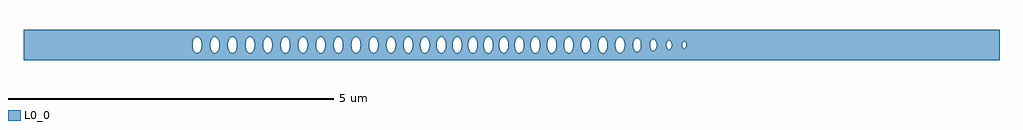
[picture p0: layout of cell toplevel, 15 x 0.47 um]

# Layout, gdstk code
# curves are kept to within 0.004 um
import gdstk
lib = gdstk.Library(unit=1e-6, precision=1e-09)
def P(c, l, *ps):  # polygons
    for p in ps: c.add(gdstk.Polygon(p, *l))
L0_0 = (0, 0)

toplevel = lib.new_cell('toplevel')
P(toplevel, L0_0, [(-4.359,0.016),(-4.355,0.046),(-4.34,0.085),(-4.34,0.235),(-7.5,0.235),(-7.5,-0.016),(-4.902,-0.016),(-4.899,0.038),(-4.889,0.073),(-4.866,0.109),(-4.836,0.124),(-4.81,0.118),(-4.78,0.085),(-4.766,0.046),(-4.761,-0.008),(-4.631,-0.008),(-4.629,0.031),(-4.615,0.079),(-4.594,0.109),(-4.565,0.124),(-4.534,0.115),(-4.512,0.09),(-4.495,0.046),(-4.49,0.008),(-4.493,-0.038),(-4.503,-0.073),(-4.526,-0.109),(-4.556,-0.124),(-4.582,-0.118),(-4.609,-0.09),(-4.626,-0.046),(-4.631,-0.008),(-4.761,-0.008),(-4.766,-0.046),(-4.78,-0.085),(-4.798,-0.109),(-4.827,-0.124),(-4.854,-0.118),(-4.877,-0.096),(-4.889,-0.073),(-4.902,-0.016),(-7.5,-0.016),(-7.5,-0.235),(-4.34,-0.235),(-4.34,-0.085),(-4.355,-0.046)],
  [(-3.816,0.016),(-3.808,0.06),(-3.791,0.096),(-3.768,0.118),(-3.738,0.123),(-3.738,0.235),(-4.34,0.235),(-4.34,0.085),(-4.323,0.109),(-4.302,0.122),(-4.276,0.122),(-4.255,0.109),(-4.227,0.06),(-4.219,-0.016),(-4.088,-0.016),(-4.085,0.038),(-4.075,0.073),(-4.052,0.109),(-4.022,0.124),(-3.996,0.118),(-3.973,0.096),(-3.956,0.06),(-3.947,0.008),(-3.952,-0.046),(-3.966,-0.085),(-3.984,-0.109),(-4.013,-0.124),(-4.04,-0.118),(-4.063,-0.096),(-4.08,-0.06),(-4.088,-0.016),(-4.219,-0.016),(-4.225,-0.053),(-4.238,-0.085),(-4.255,-0.109),(-4.276,-0.122),(-4.294,-0.124),(-4.311,-0.118),(-4.34,-0.085),(-4.34,-0.235),(-3.738,-0.235),(-3.738,-0.123),(-3.768,-0.118),(-3.798,-0.085),(-3.814,-0.038)],
  [(-3.677,-0.023),(-3.698,-0.09),(-3.716,-0.112),(-3.738,-0.123),(-3.738,-0.235),(-3.142,-0.235),(-3.142,-0.061),(-3.17,-0.109),(-3.191,-0.122),(-3.217,-0.122),(-3.238,-0.109),(-3.255,-0.085),(-3.268,-0.053),(-3.274,-0.016),(-3.266,0.06),(-3.249,0.096),(-3.226,0.118),(-3.208,0.124),(-3.182,0.118),(-3.159,0.096),(-3.142,0.06),(-3.142,0.235),(-3.738,0.235),(-3.738,0.123),(-3.709,0.105),(-3.689,0.073),(-3.679,0.038),(-3.676,-0.008),(-3.546,-0.008),(-3.541,0.046),(-3.527,0.085),(-3.509,0.109),(-3.48,0.124),(-3.462,0.122),(-3.437,0.105),(-3.411,0.053),(-3.405,-0.016),(-3.413,-0.06),(-3.437,-0.105),(-3.462,-0.122),(-3.493,-0.12),(-3.52,-0.096),(-3.537,-0.06),(-3.546,-0.008),(-3.676,-0.008)],
  [(-3.135,-0.023),(-3.142,-0.06),(-3.142,-0.235),(-2.457,-0.235),(-2.457,0.235),(-3.142,0.235),(-3.142,0.06),(-3.134,-0.008),(-3.003,-0.008),(-3,0.038),(-2.99,0.073),(-2.967,0.109),(-2.937,0.124),(-2.911,0.118),(-2.881,0.085),(-2.867,0.046),(-2.862,-0.008),(-2.732,-0.008),(-2.727,0.046),(-2.706,0.096),(-2.674,0.122),(-2.639,0.118),(-2.616,0.096),(-2.604,0.073),(-2.594,0.038),(-2.591,-0.016),(-2.61,-0.085),(-2.627,-0.109),(-2.648,-0.122),(-2.679,-0.12),(-2.706,-0.096),(-2.723,-0.06),(-2.732,-0.008),(-2.862,-0.008),(-2.867,-0.046),(-2.881,-0.085),(-2.899,-0.109),(-2.928,-0.124),(-2.959,-0.115),(-2.981,-0.09),(-2.998,-0.046),(-3.003,-0.008),(-3.134,-0.008)],
  [(-1.921,0.016),(-1.906,0.079),(-1.885,0.109),(-1.885,0.235),(-2.457,0.235),(-2.457,0.038),(-2.447,0.073),(-2.428,0.105),(-2.412,0.118),(-2.386,0.124),(-2.356,0.109),(-2.339,0.085),(-2.324,0.046),(-2.32,-0.008),(-2.19,-0.008),(-2.185,0.046),(-2.171,0.085),(-2.141,0.118),(-2.115,0.124),(-2.093,0.115),(-2.074,0.096),(-2.062,0.073),(-2.049,0.016),(-2.052,-0.038),(-2.062,-0.073),(-2.085,-0.109),(-2.115,-0.124),(-2.141,-0.118),(-2.168,-0.09),(-2.185,-0.046),(-2.19,-0.008),(-2.32,-0.008),(-2.324,-0.046),(-2.345,-0.096),(-2.368,-0.118),(-2.386,-0.124),(-2.412,-0.118),(-2.428,-0.105),(-2.447,-0.073),(-2.457,-0.039),(-2.457,-0.235),(-1.885,-0.235),(-1.885,-0.109),(-1.913,-0.06),(-1.921,-0.023)],
  [(-1.865,0.122),(-1.847,0.124),(-1.83,0.118),(-1.803,0.09),(-1.784,0.038),(-1.781,-0.008),(-1.659,-0.008),(-1.654,0.046),(-1.633,0.096),(-1.606,0.12),(-1.575,0.122),(-1.55,0.105),(-1.531,0.073),(-1.521,0.038),(-1.518,-0.016),(-1.526,-0.06),(-1.543,-0.096),(-1.566,-0.118),(-1.593,-0.124),(-1.622,-0.109),(-1.64,-0.085),(-1.654,-0.046),(-1.659,-0.008),(-1.781,-0.008),(-1.794,-0.073),(-1.821,-0.112),(-1.856,-0.124),(-1.885,-0.109),(-1.885,-0.235),(-1.289,-0.235),(-1.289,-0.1),(-1.318,-0.122),(-1.353,-0.118),(-1.369,-0.105),(-1.388,-0.073),(-1.401,-0.016),(-1.395,0.053),(-1.369,0.105),(-1.344,0.122),(-1.326,0.124),(-1.309,0.118),(-1.289,0.1),(-1.289,0.235),(-1.885,0.235),(-1.885,0.109)],
  [(-0.904,0.016),(-0.9,0.046),(-0.883,0.09),(-0.868,0.109),(-0.839,0.124),(-0.813,0.118),(-0.789,0.096),(-0.777,0.073),(-0.764,0.016),(-0.764,0.235),(-1.289,0.235),(-1.289,0.1),(-1.265,0.046),(-1.261,-0.016),(-1.15,-0.016),(-1.147,0.038),(-1.137,0.073),(-1.114,0.109),(-1.084,0.124),(-1.058,0.118),(-1.031,0.09),(-1.014,0.046),(-1.009,0.008),(-1.011,-0.031),(-1.025,-0.079),(-1.046,-0.109),(-1.075,-0.124),(-1.101,-0.118),(-1.125,-0.096),(-1.137,-0.073),(-1.15,-0.016),(-1.261,-0.016),(-1.269,-0.06),(-1.289,-0.1),(-1.289,-0.235),(-0.764,-0.235),(-0.764,-0.016),(-0.777,-0.073),(-0.789,-0.096),(-0.821,-0.122),(-0.848,-0.122),(-0.872,-0.105),(-0.889,-0.079),(-0.903,-0.031)],
  [(-0.187,0.031),(-0.17,0.085),(-0.17,0.235),(-0.764,0.235),(-0.764,-0.016),(-0.664,-0.016),(-0.661,0.038),(-0.651,0.073),(-0.628,0.109),(-0.598,0.124),(-0.572,0.118),(-0.542,0.085),(-0.528,0.046),(-0.524,-0.016),(-0.426,-0.016),(-0.423,0.038),(-0.413,0.073),(-0.39,0.109),(-0.36,0.124),(-0.334,0.118),(-0.304,0.085),(-0.29,0.046),(-0.285,0),(-0.29,-0.046),(-0.304,-0.085),(-0.322,-0.109),(-0.351,-0.124),(-0.378,-0.118),(-0.401,-0.096),(-0.418,-0.06),(-0.426,-0.016),(-0.524,-0.016),(-0.542,-0.085),(-0.56,-0.109),(-0.589,-0.124),(-0.616,-0.118),(-0.639,-0.096),(-0.656,-0.06),(-0.664,-0.016),(-0.764,-0.016),(-0.764,-0.235),(-0.17,-0.235),(-0.17,-0.085),(-0.186,-0.038)],
  [(0.296,0.016),(0.314,0.085),(0.332,0.109),(0.361,0.124),(0.361,0.235),(-0.17,0.235),(-0.17,0.085),(-0.153,0.109),(-0.132,0.122),(-0.105,0.122),(-0.085,0.109),(-0.057,0.06),(-0.048,-0.008),(0.05,-0.008),(0.052,0.031),(0.066,0.079),(0.087,0.109),(0.116,0.124),(0.142,0.118),(0.169,0.09),(0.186,0.046),(0.191,0.008),(0.188,-0.038),(0.178,-0.073),(0.158,-0.105),(0.134,-0.122),(0.107,-0.122),(0.076,-0.096),(0.059,-0.06),(0.05,-0.008),(-0.048,-0.008),(-0.064,-0.079),(-0.081,-0.105),(-0.105,-0.122),(-0.123,-0.124),(-0.14,-0.118),(-0.17,-0.085),(-0.17,-0.235),(0.361,-0.235),(0.361,-0.124),(0.332,-0.109),(0.314,-0.085),(0.3,-0.046)],
  [(0.81,0.016),(0.822,0.073),(0.838,0.1),(0.858,0.118),(0.875,0.124),(0.901,0.118),(0.934,0.079),(0.934,0.235),(0.361,0.235),(0.361,0.124),(0.388,0.118),(0.411,0.096),(0.43,0.053),(0.436,-0.008),(0.549,-0.008),(0.551,0.031),(0.565,0.079),(0.586,0.109),(0.615,0.124),(0.646,0.115),(0.668,0.09),(0.685,0.046),(0.69,0.008),(0.687,-0.038),(0.677,-0.073),(0.654,-0.109),(0.624,-0.124),(0.598,-0.118),(0.571,-0.09),(0.554,-0.046),(0.549,-0.008),(0.436,-0.008),(0.43,-0.053),(0.411,-0.096),(0.388,-0.118),(0.361,-0.124),(0.361,-0.235),(0.934,-0.235),(0.934,-0.079),(0.917,-0.105),(0.893,-0.122),(0.866,-0.122),(0.849,-0.112),(0.828,-0.085),(0.818,-0.06),(0.81,-0.023)],
  [(1.597,-0.008),(1.598,0.235),(0.934,0.235),(0.934,0.078),(0.948,0.031),(0.949,-0.016),(1.071,-0.016),(1.074,0.038),(1.084,0.073),(1.107,0.109),(1.137,0.124),(1.163,0.118),(1.193,0.085),(1.21,0.031),(1.211,-0.016),(1.333,-0.016),(1.336,0.038),(1.346,0.073),(1.369,0.109),(1.399,0.124),(1.425,0.118),(1.448,0.096),(1.469,0.046),(1.474,0),(1.469,-0.046),(1.454,-0.085),(1.437,-0.109),(1.408,-0.124),(1.381,-0.118),(1.358,-0.096),(1.341,-0.06),(1.333,-0.016),(1.211,-0.016),(1.207,-0.046),(1.19,-0.09),(1.175,-0.109),(1.146,-0.124),(1.119,-0.118),(1.096,-0.096),(1.084,-0.073),(1.071,-0.016),(0.949,-0.016),(0.934,-0.079),(0.934,-0.235),(1.598,-0.235)],
  [(2.131,0.011),(2.142,0.057),(2.168,0.086),(2.168,0.235),(1.598,0.235),(1.598,0.023),(1.608,0.066),(1.623,0.096),(1.646,0.118),(1.672,0.124),(1.702,0.109),(1.719,0.085),(1.735,0.038),(1.738,-0.007),(1.869,-0.007),(1.873,0.039),(1.888,0.078),(1.907,0.099),(1.93,0.107),(1.952,0.099),(1.971,0.078),(1.99,0.013),(1.979,-0.063),(1.959,-0.093),(1.93,-0.107),(1.907,-0.099),(1.888,-0.078),(1.873,-0.039),(1.869,-0.007),(1.738,-0.007),(1.735,-0.038),(1.719,-0.085),(1.702,-0.109),(1.672,-0.124),(1.646,-0.118),(1.626,-0.1),(1.608,-0.066),(1.598,-0.026),(1.598,-0.235),(2.168,-0.235),(2.168,-0.086),(2.151,-0.072),(2.138,-0.048)],
  [(2.175,0.088),(2.197,0.085),(2.216,0.065),(2.229,0.028),(2.231,-0.013),(2.381,-0.013),(2.388,0.042),(2.399,0.061),(2.419,0.072),(2.439,0.065),(2.453,0.046),(2.461,-0.01),(2.624,-0.01),(2.628,0.029),(2.636,0.044),(2.651,0.054),(2.664,0.052),(2.676,0.04),(2.685,-0.01),(2.676,-0.04),(2.658,-0.054),(2.636,-0.044),(2.624,-0.01),(2.461,-0.01),(2.453,-0.046),(2.439,-0.065),(2.424,-0.072),(2.399,-0.061),(2.381,-0.013),(2.231,-0.013),(2.224,-0.048),(2.211,-0.072),(2.19,-0.088),(2.168,-0.086),(2.168,-0.235),(7.5,-0.235),(7.5,0.235),(2.168,0.235),(2.168,0.086)])

lib.write_gds('toplevel.gds')
